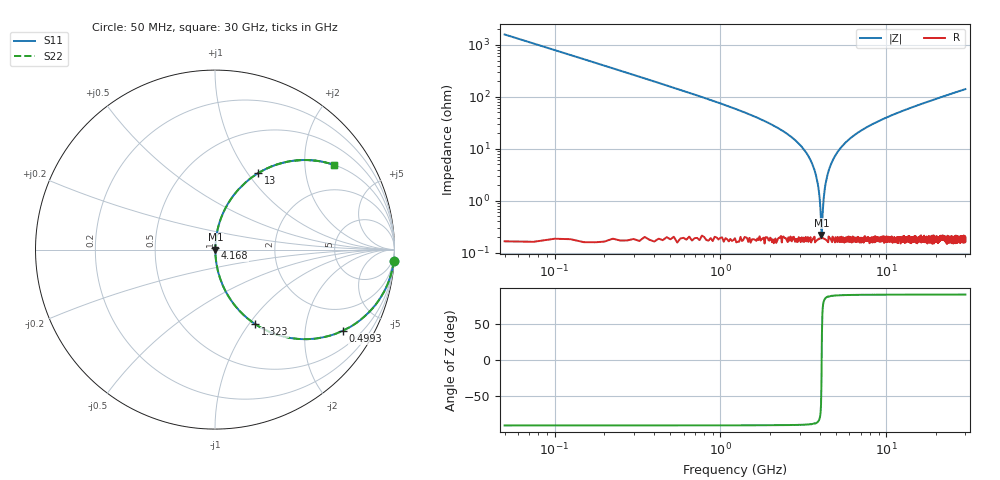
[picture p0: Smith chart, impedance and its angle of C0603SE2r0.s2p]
!	AVX Thin Film Operation 	Date: April 2014
!	Description: Accu-P® Series, Thin Film  SMD RF Capacitor
!	Part Number: 06031J2R0PBSTR
# MHZ S MA R 50
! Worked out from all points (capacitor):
!   1201 points, 50 MHz to 30 GHz, reference 50 ohm
!   read as one part in series: C = 2 pF near 199.8 MHz
!   lowest |Z| = 220 mohm at 4.068 GHz (marker M1)
!   series resonance near 4.08 GHz, so ESL is about 760 pH
!   S11 on the Smith chart (normalised r, x): 50 MHz: 1, -32; 499.2 MHz: 1.00, -3.14; 1.323 GHz: 1.00, -1.08; 4.168 GHz: 1.00, +0.02; 13 GHz: 1.00, +1.12; 30 GHz: 1.00, +2.82
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50  0.998 -3.6  0.063 86.4  0.063 86.4  0.998 -3.6
274.625  0.945 -19.1  0.327 70.8  0.327 70.8  0.945 -19.1
499.25  0.843 -32.5  0.537 57.5  0.537 57.5  0.843 -32.5
823.708  0.679 -47.1  0.733 42.8  0.733 42.8  0.679 -47.1
1322.875  0.473 -61.6  0.879 28.2  0.879 28.2  0.473 -61.6
2645.667  0.171 -79.5  0.983 9.9  0.983 9.9  0.171 -79.5
3344.5  0.078 -84.2  0.995 4.5  0.995 4.5  0.078 -84.2
3743.833  0.034 -85.0  0.998 1.9  0.998 1.9  0.034 -85.0
3868.625  0.021 -83.8  0.998 1.2  0.998 1.2  0.021 -83.8
3968.458  0.011 -79.8  0.998 0.6  0.998 0.6  0.011 -79.8
4068.292  0.002112 -30.6  0.998 0.1  0.998 0.1  0.002112 -30.6
4168.125  0.00856 77.3  0.998 -0.5  0.998 -0.5  0.00856 77.3
4317.875  0.022 84.0  0.998 -1.3  0.998 -1.3  0.022 84.0
4467.625  0.035 85.0  0.998 -2.0  0.998 -2.0  0.035 85.0
5041.667  0.083 84.0  0.995 -4.7  0.995 -4.7  0.083 84.0
6788.75  0.203 77.8  0.977 -11.7  0.977 -11.7  0.203 77.8
10058.29  0.372 67.9  0.926 -21.9  0.926 -21.9  0.372 67.9
13003.38  0.488 60.6  0.871 -29.2  0.871 -29.2  0.488 60.6
15025  0.553 56.2  0.831 -33.6  0.831 -33.6  0.553 56.2
20016.67  0.675 47.4  0.736 -42.5  0.736 -42.5  0.675 47.4
25033.29  0.758 40.6  0.651 -49.3  0.651 -49.3  0.758 40.6
30000  0.815 35.4  0.579 -54.6  0.579 -54.6  0.815 35.4
